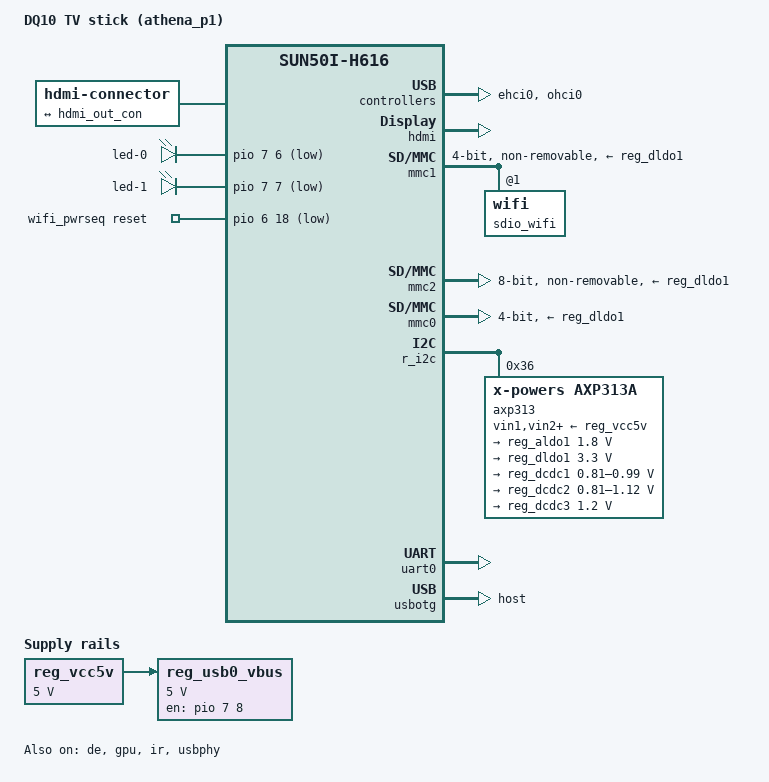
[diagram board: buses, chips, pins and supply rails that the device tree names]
// SPDX-License-Identifier: (GPL-2.0+ OR MIT)
/*
 * Device tree for the "DQ10" Android TV stick (Allwinner "athena_p1" board,
 * SoC string H616-family; H313/H616/H618 not distinguishable in software).
 *
 * Derived from sun50i-h313-tanix-tx1.dts (Linux v6.18.53, Copyright (C) 2024
 * Arm Ltd.) plus Armbian's sunxi-6.18 H616 display-pipeline DT patches
 * (patches.drm/0041, 0042), which provide the &de/&hdmi/&hdmi_out nodes.
 *
 * Every board-specific fact below was read from the running vendor device tree
 * (/sys/firmware/fdt of the running stick) unless marked
 * "UNVERIFIED".  Evidence tags in comments: [vendor-DT] = read from that DT,
 * [TX1] = copied from the TX1 board because the vendor DT is consistent with
 * it but does not prove it.
 */

/dts-v1/;

#include "sun50i-h616.dtsi"
#include "sun50i-h616-cpu-opp.dtsi"

#include <dt-bindings/gpio/gpio.h>
#include <dt-bindings/interrupt-controller/arm-gic.h>
#include <dt-bindings/leds/common.h>

/ {
	model = "DQ10 TV stick (athena_p1)";
	compatible = "dq10,athena-p1", "allwinner,sun50i-h616";

	aliases {
		serial0 = &uart0;
		ethernet0 = &sdio_wifi;
		/* keep the eMMC at mmc0/mmcblk0 whether or not an SD card is present */
		mmc0 = &mmc2;
		mmc1 = &mmc1;
		mmc2 = &mmc0;
	};

	chosen {
		stdout-path = "serial0:115200n8";
	};

	connector {
		compatible = "hdmi-connector";
		type = "a";

		port {
			hdmi_con_in: endpoint {
				remote-endpoint = <&hdmi_out_con>;
			};
		};
	};

	leds {
		compatible = "gpio-leds";

		/*
		 * [vendor-DT] gpio_para: normal_led = gpio_pin_1 = PH6 (output),
		 * standby_led = gpio_pin_2 = PH7; the vendor DT says *_led_light = 1.
		 * [hardware 2026-10-30] PH6 is ACTIVE LOW in reality: driving the pin low
		 * lights the (blue) LED, so the vendor "light = 1" is not the pin level.
		 * PH7 (standby LED) is assumed to be wired the same way - UNVERIFIED;
		 * it is "off" by default either way, so a wrong guess shows at most a
		 * lit standby LED.
		 */
		/*
		 * Heartbeat instead of a static "on": with no serial console and
		 * possibly no working HDMI on the first boot, a blinking LED is the
		 * only sign that the kernel is alive (SPL/U-Boot leave it solid on).
		 */
		led-0 {
			function = LED_FUNCTION_POWER;
			gpios = <&pio 7 6 GPIO_ACTIVE_LOW>; /* PH6, active low (hardware-verified) */
			linux,default-trigger = "heartbeat";
		};

		led-1 {
			function = LED_FUNCTION_STANDBY;
			gpios = <&pio 7 7 GPIO_ACTIVE_LOW>; /* PH7, UNVERIFIED polarity (assumed like PH6) */
			default-state = "off";
		};
	};

	/*
	 * Wi-Fi/BT combo: AICSemi AIC8800D80 on SDIO (SDIO 0xc8a1:0x0082 = Wi-Fi
	 * function, 0xc8a1:0x0182 = BSP/BT function; chip rev 0x7 / subrev 0x82
	 * = "U02" firmware set).  Wiring, all [vendor-DT] (rfkill, btlpm, sdc1):
	 *   - SDIO bus        : SMHC1 (sdc1, 0x4021000 = mainline &mmc1), 4 bit,
	 *                       vendor max-frequency 50 MHz, cap-sdio-irq, no-sd/no-mmc,
	 *                       vmmc = dldo1 (3.3 V), vqmmc = aldo1 (1.8 V, vendor
	 *                       sets sunxi-dis-signal-vol-sw => I/O fixed at 1.8 V)
	 *   - WL_REG_ON       : PG18 (wlan_regon = bank 6 pin 18)   -> reset-gpios below
	 *   - WL host-wake    : PG15 (wlan_hostwake = bank 6 pin 15) -> not used by the
	 *                       Radxa driver (CONFIG_OOB=n, in-band SDIO irq)
	 *   - 32 kHz LPO      : SoC RTC clock fan-out on PG10 (clk_losc_pins_a /
	 *                       "osc32k-out")                         -> ext_clock below
	 *   - BT              : UART1 on PG6/PG7/PG8/PG9 (TX/RX/RTS/CTS), bt_rst_n = PG19,
	 *                       bt_wake = PG17, bt_hostwake = PG16, 24 MHz "dcxo24m-out".
	 *                       NOT described here: there is no mainline binding for the
	 *                       AIC8800 UART bluetooth; Wi-Fi is the requirement.
	 * Identical to the TX1 wiring (PG18 + 32 kHz fan-out).
	 */
	wifi_pwrseq: pwrseq {
		compatible = "mmc-pwrseq-simple";
		clocks = <&rtc CLK_OSC32K_FANOUT>;
		clock-names = "ext_clock";
		pinctrl-0 = <&x32clk_fanout_pin>;
		pinctrl-names = "default";
		reset-gpios = <&pio 6 18 GPIO_ACTIVE_LOW>; /* PG18 */
		/* chip needs time after WL_REG_ON before it answers on SDIO (UNVERIFIED value) */
		post-power-on-delay-ms = <200>;
	};

	reg_vcc5v: vcc5v {
		/* board wide 5V supply directly from the DC input */
		compatible = "regulator-fixed";
		regulator-name = "vcc-5v";
		regulator-min-microvolt = <5000000>;
		regulator-max-microvolt = <5000000>;
		regulator-always-on;
	};

	/* [vendor-DT] usb0-drvvbus: regulator-fixed, 5 V, gpio PH8, active high */
	reg_usb0_vbus: usb0-vbus {
		compatible = "regulator-fixed";
		regulator-name = "usb0-vbus";
		regulator-min-microvolt = <5000000>;
		regulator-max-microvolt = <5000000>;
		vin-supply = <&reg_vcc5v>;
		gpio = <&pio 7 8 GPIO_ACTIVE_HIGH>; /* PH8 */
		enable-active-high;
	};
};

&cpu0 {
	/* [vendor-DT] cpu-supply = axp1530 dcdc2 */
	cpu-supply = <&reg_dcdc2>;
};

&de {
	status = "okay";
};

&ehci0 {
	status = "okay";
};

&gpu {
	mali-supply = <&reg_dcdc1>;
	status = "okay";
};

&hdmi {
	/* [vendor-DT] hdmi_power0 = aldo1 (1.8 V), hdmi_power1 = dcdc1 */
	hvcc-supply = <&reg_aldo1>;
	status = "okay";
};

&hdmi_out {
	hdmi_out_con: endpoint {
		remote-endpoint = <&hdmi_con_in>;
	};
};

&ir {
	/* [vendor-DT] s_cir0 on PH10 */
	status = "okay";
};

/* SDIO Wi-Fi/BT combo (AIC8800) on SMHC1 */
&mmc1 {
	vmmc-supply = <&reg_dldo1>;
	vqmmc-supply = <&reg_aldo1>;
	mmc-pwrseq = <&wifi_pwrseq>;
	bus-width = <4>;
	non-removable;
	max-frequency = <50000000>;	/* [vendor-DT] sdc1 max-frequency */
	cap-sdio-irq;			/* [vendor-DT] */
	keep-power-in-suspend;		/* [vendor-DT] */
	no-sd;
	no-mmc;
	status = "okay";

	sdio_wifi: wifi@1 {
		reg = <1>;
	};
};

/*
 * On-board eMMC on SMHC2.  [vendor-DT] sdc2: bus-width 8, non-removable,
 * vmmc = dldo1 (3.3 V), vqmmc = aldo1 (1.8 V).  The vendor DT also lists
 * HS200/HS400; we stay with the conservative settings used for the TX1
 * (DDR52 @ 1.8 V, 100 MHz) - can be raised after the first successful boot.
 */
&mmc2 {
	vmmc-supply = <&reg_dldo1>;
	vqmmc-supply = <&reg_aldo1>;
	bus-width = <8>;
	non-removable;
	max-frequency = <100000000>;
	cap-mmc-hw-reset;
	mmc-ddr-1_8v;
	status = "okay";
};

/*
 * microSD slot on SMHC0 (the owner's notes confirm a physical slot).  [vendor-DT]
 * sdc0: 4 bit, card-detect on PI16 (active low), vmmc = dldo1.  The vendor driver
 * switches the PF I/O rail between 3.3 V (dldo1) and 1.8 V (aldo1); how that is wired
 * is UNVERIFIED, so no vqmmc is given => 3.3 V signalling, SD High-Speed at most.
 * broken-cd (polling) is used instead of the PI16 detect line because its polarity
 * / pull is not proven.  Useful as an extra boot/recovery medium: the BROM tries the
 * SD card before the eMMC.
 */
&mmc0 {
	vmmc-supply = <&reg_dldo1>;
	bus-width = <4>;
	broken-cd;
	disable-wp;
	cap-sd-highspeed;
	no-sdio;
	no-mmc;
	status = "okay";
};

&ohci0 {
	status = "okay";
};

&pio {
	/* as TX1; vendor DT has PF/PG on a 1.8 V rail but no SD slot is used here */
	vcc-pc-supply = <&reg_aldo1>;
	vcc-pf-supply = <&reg_dldo1>;
	vcc-pg-supply = <&reg_aldo1>;
	vcc-ph-supply = <&reg_dldo1>;
	vcc-pi-supply = <&reg_dldo1>;
};

/*
 * PMIC: the vendor kernel calls it "axp1530" at 0x36 on R_I2C (twi@7081400).
 * AXP1530 is the vendor-internal name of the AXP313A (same chip id 0x48 in
 * reg 0x03, accepted by TF-A and U-Boot as AXP313).
 * [vendor-DT] voltages read live from /sys/class/regulator:
 *   dcdc1 0.96 V, dcdc2 1.10 V (cpu), dcdc3 1.20 V (DRAM), aldo1 1.8 V,
 *   dldo1 3.3 V.
 */
&r_i2c {
	status = "okay";

	axp313: pmic@36 {
		compatible = "x-powers,axp313a";
		reg = <0x36>;
		#interrupt-cells = <1>;
		interrupt-controller;

		vin1-supply = <&reg_vcc5v>;
		vin2-supply = <&reg_vcc5v>;
		vin3-supply = <&reg_vcc5v>;

		regulators {
			/* Supplies VCC-PLL, so needs to be always on. */
			reg_aldo1: aldo1 {
				regulator-always-on;
				regulator-min-microvolt = <1800000>;
				regulator-max-microvolt = <1800000>;
				regulator-name = "vcc1v8";
			};

			/* Supplies VCC-IO, so needs to be always on. */
			reg_dldo1: dldo1 {
				regulator-always-on;
				regulator-min-microvolt = <3300000>;
				regulator-max-microvolt = <3300000>;
				regulator-name = "vcc3v3";
			};

			reg_dcdc1: dcdc1 {
				regulator-always-on;
				regulator-min-microvolt = <810000>;
				regulator-max-microvolt = <990000>;
				regulator-name = "vdd-gpu-sys";
			};

			reg_dcdc2: dcdc2 {
				regulator-always-on;
				regulator-min-microvolt = <810000>;
				regulator-max-microvolt = <1120000>;
				regulator-name = "vdd-cpu";
			};

			/*
			 * LPDDR3 VDD2: MUST stay at 1.2 V (vendor boot0 sets
			 * 1200 mV; U-Boot AXP_DCDC3_VOLT=1200).  Never let a
			 * consumer change this.
			 */
			reg_dcdc3: dcdc3 {
				regulator-always-on;
				regulator-min-microvolt = <1200000>;
				regulator-max-microvolt = <1200000>;
				regulator-name = "vdd-dram";
			};
		};
	};
};

&uart0 {
	/* [vendor-DT] console ttyAS0 = uart0 (PH0/PH1), 115200 */
	pinctrl-names = "default";
	pinctrl-0 = <&uart0_ph_pins>;
	status = "okay";
};

&usbotg {
	/* USB-A receptacle on USB0; VBUS switched by PH8 via the usbphy below */
	dr_mode = "host";
	status = "okay";
};

&usbphy {
	usb0_vbus-supply = <&reg_usb0_vbus>;
	status = "okay";
};
